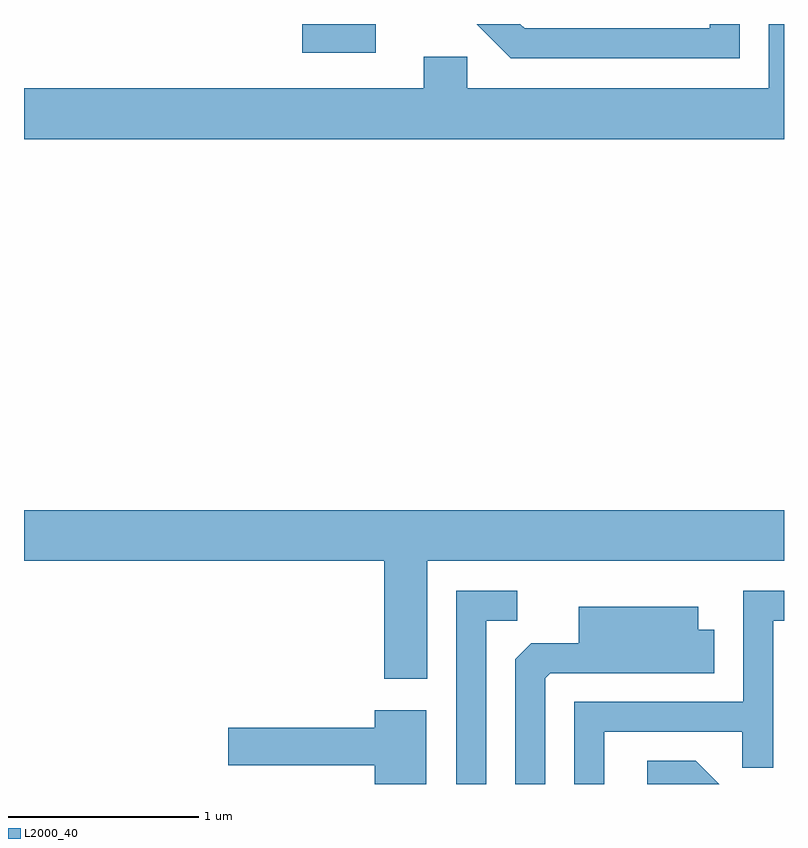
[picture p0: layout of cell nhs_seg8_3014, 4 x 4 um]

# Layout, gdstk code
import gdstk
lib = gdstk.Library(unit=1e-6, precision=1e-09)
def R(c, l, rs):  # rectangles x0, y0, x1, y1
    for r in rs: c.add(gdstk.rectangle(r[:2], r[2:], *l))
def P(c, l, *ps):  # polygons
    for p in ps: c.add(gdstk.Polygon(p, *l))
L2000_40 = (2000, 40)

nhs_seg8_3014 = lib.new_cell('nhs_seg8_3014')
R(nhs_seg8_3014, L2000_40, [(277.076,1850.191,277.463,1850.342)])
P(nhs_seg8_3014, L2000_40, [(279.611,1850.342),(279.531,1850.342),(279.531,1850.004),(277.944,1850.004),(277.944,1850.169),(277.716,1850.169),(277.716,1850.004),(275.611,1850.004),(275.611,1849.736),(279.611,1849.736)],
  [(279.379,1850.342),(279.221,1850.342),(279.221,1850.319),(278.247,1850.319),(278.224,1850.342),(277.993,1850.342),(278.174,1850.161),(279.379,1850.161)],
  [(277.734,1847.516),(279.611,1847.516),(279.611,1847.784),(275.611,1847.784),(275.611,1847.516),(277.506,1847.516),(277.506,1846.896),(277.734,1846.896)],
  [(278.664,1846.616),(279.391,1846.616),(279.391,1846.428),(279.554,1846.428),(279.554,1847.201),(279.611,1847.201),(279.611,1847.359),(279.396,1847.359),(279.396,1846.774),(278.506,1846.774),(278.506,1846.342),(278.664,1846.342)],
  [(278.044,1847.201),(278.208,1847.201),(278.208,1847.359),(277.886,1847.359),(277.886,1846.342),(278.044,1846.342)],
  [(278.354,1846.899),(278.382,1846.926),(279.244,1846.926),(279.244,1847.154),(279.159,1847.154),(279.159,1847.274),(278.531,1847.274),(278.531,1847.084),(278.282,1847.084),(278.196,1846.999),(278.196,1846.342),(278.354,1846.342)],
  [(277.729,1846.729),(277.456,1846.729),(277.456,1846.639),(276.686,1846.639),(276.686,1846.441),(277.456,1846.441),(277.456,1846.342),(277.729,1846.342)],
  [(279.147,1846.464),(278.891,1846.464),(278.891,1846.342),(279.269,1846.342)])

lib.write_gds('nhs_seg8_3014.gds')
